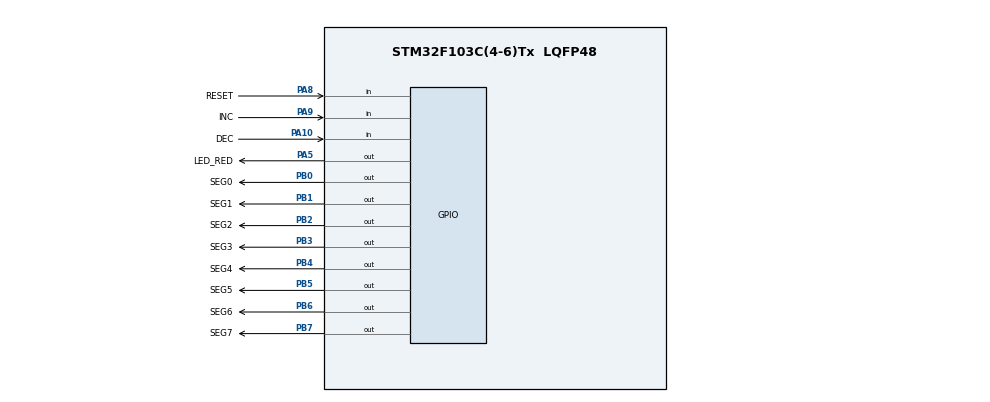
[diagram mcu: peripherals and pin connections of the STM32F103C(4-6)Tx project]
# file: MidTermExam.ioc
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Mcu.Family=STM32F1
Mcu.Name=STM32F103C(4-6)Tx
Mcu.Package=LQFP48
NVIC.PriorityGroup=NVIC_PRIORITYGROUP_4
NVIC.TIM2_IRQn=true\:0\:0\:false\:false\:true\:true\:true
PA10.GPIO_Label=DEC
PA10.GPIO_PuPd=GPIO_PULLUP
PA10.Signal=GPIO_Input
PA5.GPIO_Label=LED_RED
PA5.Signal=GPIO_Output
PA8.GPIO_Label=RESET
PA8.GPIO_PuPd=GPIO_PULLUP
PA8.Signal=GPIO_Input
PA9.GPIO_Label=INC
PA9.GPIO_PuPd=GPIO_PULLUP
PA9.Signal=GPIO_Input
PB0.GPIO_Label=SEG0
PB0.Signal=GPIO_Output
PB1.GPIO_Label=SEG1
PB1.Signal=GPIO_Output
PB2.GPIO_Label=SEG2
PB2.Signal=GPIO_Output
PB3.GPIO_Label=SEG3
PB3.Signal=GPIO_Output
PB4.GPIO_Label=SEG4
PB4.Signal=GPIO_Output
PB5.GPIO_Label=SEG5
PB5.Signal=GPIO_Output
PB6.GPIO_Label=SEG6
PB6.Signal=GPIO_Output
PB7.GPIO_Label=SEG7
PB7.Signal=GPIO_Output
ProjectManager.HeapSize=0x200
ProjectManager.StackSize=0x400
ProjectManager.TargetToolchain=STM32CubeIDE
RCC.APB1Freq_Value=8000000
RCC.APB2Freq_Value=8000000
TIM2.Period=9
TIM2.Prescaler=7999
VP_SYS_VS_ND.Mode=No_Debug
VP_TIM2_VS_ClockSourceINT.Mode=Internal
board=custom

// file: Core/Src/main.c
/* USER CODE BEGIN Header */
/**
  ******************************************************************************
  * @file           : main.c
  * @brief          : Main program body
  ******************************************************************************
  * @attention
  *
  * <h2><center>&copy; Copyright (c) 2022 STMicroelectronics.
  * All rights reserved.</center></h2>
  *
  * This software component is licensed by ST under BSD 3-Clause license,
  * the "License"; You may not use this file except in compliance with the
  * License. You may obtain a copy of the License at:
  *                        opensource.org/licenses/BSD-3-Clause
  *
  ******************************************************************************
  */
/* USER CODE END Header */
#include "main.h"

/* USER CODE BEGIN Includes */
#include "software_timer.h"
#include "global.h"
#include "button.h"
#include "control_led_7SEG.h"
#include "fsm_simple_buttons.h"
/* USER CODE END Includes */

TIM_HandleTypeDef htim2;

void SystemClock_Config(void);
static void MX_GPIO_Init(void);
static void MX_TIM2_Init(void);

/* USER CODE BEGIN 0 */

//status = INIT;

/* USER CODE END 0 */

int main(void)
{

  /* MCU Configuration--------------------------------------------------------*/

  /* Reset of all peripherals, Initializes the Flash interface and the Systick. */
  HAL_Init();

  /* Configure the system clock */
  SystemClock_Config();

  /* Initialize all configured peripherals */
  MX_GPIO_Init();
  MX_TIM2_Init();
  /* USER CODE BEGIN 2 */
  HAL_TIM_Base_Start_IT(&htim2);
  /* USER CODE END 2 */

  /* Infinite loop */
  /* USER CODE BEGIN WHILE */
  status = INIT;
  setTimer1(1000);// timer for debugging by led red
  setTimer2(1000);// timer countDown to update counter while press and hold
  while (1)
  {
    /* USER CODE END WHILE */

    /* USER CODE BEGIN 3 */
	  if(timer1_flag == 1)// use LED-RED for debug
	  {
			HAL_GPIO_TogglePin(LED_RED_GPIO_Port, LED_RED_Pin);
			setTimer1(1000);
	  }
	  fsm_simple_buttons_run();
	  fsm_long_press_run();
	  fsm_count_down_run();
  }
  /* USER CODE END 3 */
}

void SystemClock_Config(void)
{
  RCC_OscInitTypeDef RCC_OscInitStruct = {0};
  RCC_ClkInitTypeDef RCC_ClkInitStruct = {0};

  /** Initializes the RCC Oscillators according to the specified parameters
  * in the RCC_OscInitTypeDef structure.
  */
  RCC_OscInitStruct.OscillatorType = RCC_OSCILLATORTYPE_HSI;
  RCC_OscInitStruct.HSIState = RCC_HSI_ON;
  RCC_OscInitStruct.HSICalibrationValue = RCC_HSICALIBRATION_DEFAULT;
  RCC_OscInitStruct.PLL.PLLState = RCC_PLL_NONE;
  if (HAL_RCC_OscConfig(&RCC_OscInitStruct) != HAL_OK)
  {
    Error_Handler();
  }
  /** Initializes the CPU, AHB and APB buses clocks
  */
  RCC_ClkInitStruct.ClockType = RCC_CLOCKTYPE_HCLK|RCC_CLOCKTYPE_SYSCLK
                              |RCC_CLOCKTYPE_PCLK1|RCC_CLOCKTYPE_PCLK2;
  RCC_ClkInitStruct.SYSCLKSource = RCC_SYSCLKSOURCE_HSI;
  RCC_ClkInitStruct.AHBCLKDivider = RCC_SYSCLK_DIV1;
  RCC_ClkInitStruct.APB1CLKDivider = RCC_HCLK_DIV1;
  RCC_ClkInitStruct.APB2CLKDivider = RCC_HCLK_DIV1;

  if (HAL_RCC_ClockConfig(&RCC_ClkInitStruct, FLASH_LATENCY_0) != HAL_OK)
  {
    Error_Handler();
  }
}

static void MX_TIM2_Init(void)
{

  TIM_ClockConfigTypeDef sClockSourceConfig = {0};
  TIM_MasterConfigTypeDef sMasterConfig = {0};

  htim2.Instance = TIM2;
  htim2.Init.Prescaler = 7999;
  htim2.Init.CounterMode = TIM_COUNTERMODE_UP;
  htim2.Init.Period = 9;
  htim2.Init.ClockDivision = TIM_CLOCKDIVISION_DIV1;
  htim2.Init.AutoReloadPreload = TIM_AUTORELOAD_PRELOAD_DISABLE;
  if (HAL_TIM_Base_Init(&htim2) != HAL_OK)
  {
    Error_Handler();
  }
  sClockSourceConfig.ClockSource = TIM_CLOCKSOURCE_INTERNAL;
  if (HAL_TIM_ConfigClockSource(&htim2, &sClockSourceConfig) != HAL_OK)
  {
    Error_Handler();
  }
  sMasterConfig.MasterOutputTrigger = TIM_TRGO_RESET;
  sMasterConfig.MasterSlaveMode = TIM_MASTERSLAVEMODE_DISABLE;
  if (HAL_TIMEx_MasterConfigSynchronization(&htim2, &sMasterConfig) != HAL_OK)
  {
    Error_Handler();
  }

}

static void MX_GPIO_Init(void)
{
  GPIO_InitTypeDef GPIO_InitStruct = {0};

  /* GPIO Ports Clock Enable */
  __HAL_RCC_GPIOA_CLK_ENABLE();
  __HAL_RCC_GPIOB_CLK_ENABLE();

  /*Configure GPIO pin Output Level */
  HAL_GPIO_WritePin(LED_RED_GPIO_Port, LED_RED_Pin, GPIO_PIN_RESET);

  /*Configure GPIO pin Output Level */
  HAL_GPIO_WritePin(GPIOB, SEG0_Pin|SEG1_Pin|SEG2_Pin|SEG3_Pin
                          |SEG4_Pin|SEG5_Pin|SEG6_Pin|SEG7_Pin, GPIO_PIN_RESET);

  /*Configure GPIO pin : LED_RED_Pin */
  GPIO_InitStruct.Pin = LED_RED_Pin;
  GPIO_InitStruct.Mode = GPIO_MODE_OUTPUT_PP;
  GPIO_InitStruct.Pull = GPIO_NOPULL;
  GPIO_InitStruct.Speed = GPIO_SPEED_FREQ_LOW;
  HAL_GPIO_Init(LED_RED_GPIO_Port, &GPIO_InitStruct);

  /*Configure GPIO pins : SEG0_Pin SEG1_Pin SEG2_Pin SEG3_Pin
                           SEG4_Pin SEG5_Pin SEG6_Pin SEG7_Pin */
  GPIO_InitStruct.Pin = SEG0_Pin|SEG1_Pin|SEG2_Pin|SEG3_Pin
                          |SEG4_Pin|SEG5_Pin|SEG6_Pin|SEG7_Pin;
  GPIO_InitStruct.Mode = GPIO_MODE_OUTPUT_PP;
  GPIO_InitStruct.Pull = GPIO_NOPULL;
  GPIO_InitStruct.Speed = GPIO_SPEED_FREQ_LOW;
  HAL_GPIO_Init(GPIOB, &GPIO_InitStruct);

  /*Configure GPIO pins : RESET_Pin INC_Pin DEC_Pin */
  GPIO_InitStruct.Pin = RESET_Pin|INC_Pin|DEC_Pin;
  GPIO_InitStruct.Mode = GPIO_MODE_INPUT;
  GPIO_InitStruct.Pull = GPIO_PULLUP;
  HAL_GPIO_Init(GPIOA, &GPIO_InitStruct);

}

/* USER CODE BEGIN 4 */
HAL_TIM_PeriodElapsedCallback(TIM_HandleTypeDef* htim)
{
	timeRun();
	getKeyInput();
}
/* USER CODE END 4 */

void Error_Handler(void)
{
  __disable_irq();
  while (1)
  {
  }
}

/************************ (C) COPYRIGHT STMicroelectronics *****END OF FILE****/
